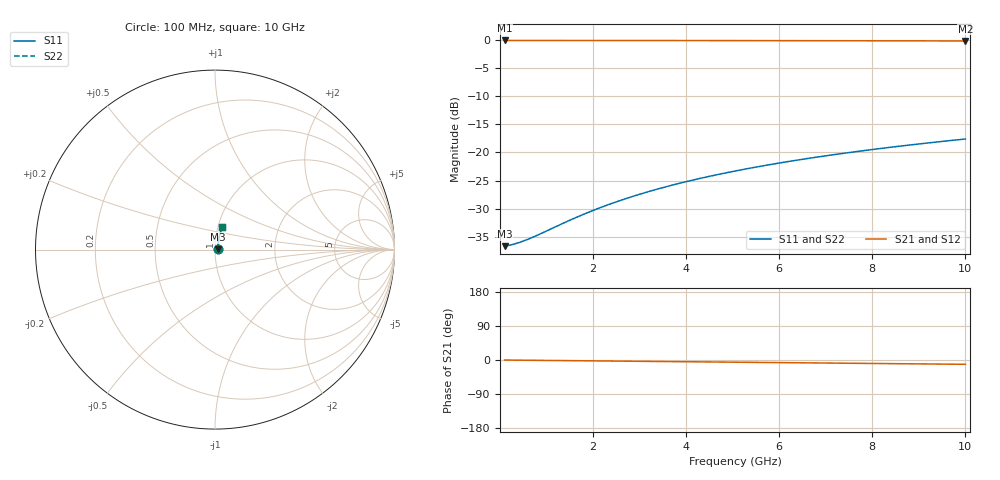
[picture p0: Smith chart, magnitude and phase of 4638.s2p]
# Hz S RI R 50.00
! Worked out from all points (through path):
!   100 points, 100 MHz to 10 GHz, reference 50 ohm
!   highest |S21| = -0.13 dB at 100 MHz (marker M1); lowest = -0.2 dB at 10 GHz (marker M2)
!   group delay of S21, straight-line fit = 3.16 ps
!   lowest |S11| = -36.6 dB at 100 MHz (marker M3), VSWR 1.03, Z = 51.5 + j0.133 ohm
!   |S11| at or under -10 dB: start of sweep to end of sweep
!   |S22| runs from -36.6 to -17.6 dB; largest |S21 - S12| = 0
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1e8  0.0147 0.00129  0.9853 -0.00197  0.9853 -0.00197  0.0147 0.00129
2e8  0.0148 0.00258  0.9852 -0.00394  0.9852 -0.00394  0.0148 0.00258
3e8  0.0148 0.00388  0.9851 -0.0059  0.9851 -0.0059  0.0148 0.00388
4e8  0.0149 0.00517  0.9851 -0.00787  0.9851 -0.00787  0.0149 0.00517
6e8  0.0151 0.00775  0.9849 -0.0118  0.9849 -0.0118  0.0151 0.00775
8e8  0.0152 0.0103  0.9848 -0.0157  0.9848 -0.0157  0.0152 0.0103
1.5e9  0.0158 0.0193  0.9841 -0.0295  0.9841 -0.0295  0.0158 0.0193
1.8e9  0.0161 0.0232  0.9838 -0.0354  0.9838 -0.0354  0.0161 0.0232
2.2e9  0.0166 0.0283  0.9833 -0.0432  0.9833 -0.0432  0.0166 0.0283
2.6e9  0.0172 0.0335  0.9827 -0.0511  0.9827 -0.0511  0.0172 0.0335
3e9  0.0178 0.0386  0.982 -0.0589  0.982 -0.0589  0.0178 0.0386
3.4e9  0.0185 0.0437  0.9812 -0.0667  0.9812 -0.0667  0.0185 0.0437
3.8e9  0.0193 0.0488  0.9804 -0.0745  0.9804 -0.0745  0.0193 0.0488
4.2e9  0.0201 0.0539  0.9794 -0.0823  0.9794 -0.0823  0.0201 0.0539
4.6e9  0.0211 0.0589  0.9784 -0.09  0.9784 -0.09  0.0211 0.0589
5.1e9  0.0224 0.0652  0.977 -0.0997  0.977 -0.0997  0.0224 0.0652
5.9e9  0.0247 0.0752  0.9745 -0.1152  0.9745 -0.1152  0.0247 0.0752
6.7e9  0.0273 0.0851  0.9716 -0.1305  0.9716 -0.1305  0.0273 0.0851
7.5e9  0.0303 0.095  0.9684 -0.1457  0.9684 -0.1457  0.0303 0.095
8.4e9  0.0339 0.1059  0.9644 -0.1628  0.9644 -0.1628  0.0339 0.1059
9.2e9  0.0375 0.1154  0.9605 -0.1778  0.9605 -0.1778  0.0375 0.1154
1e10  0.0414 0.1248  0.9563 -0.1926  0.9563 -0.1926  0.0414 0.1248
